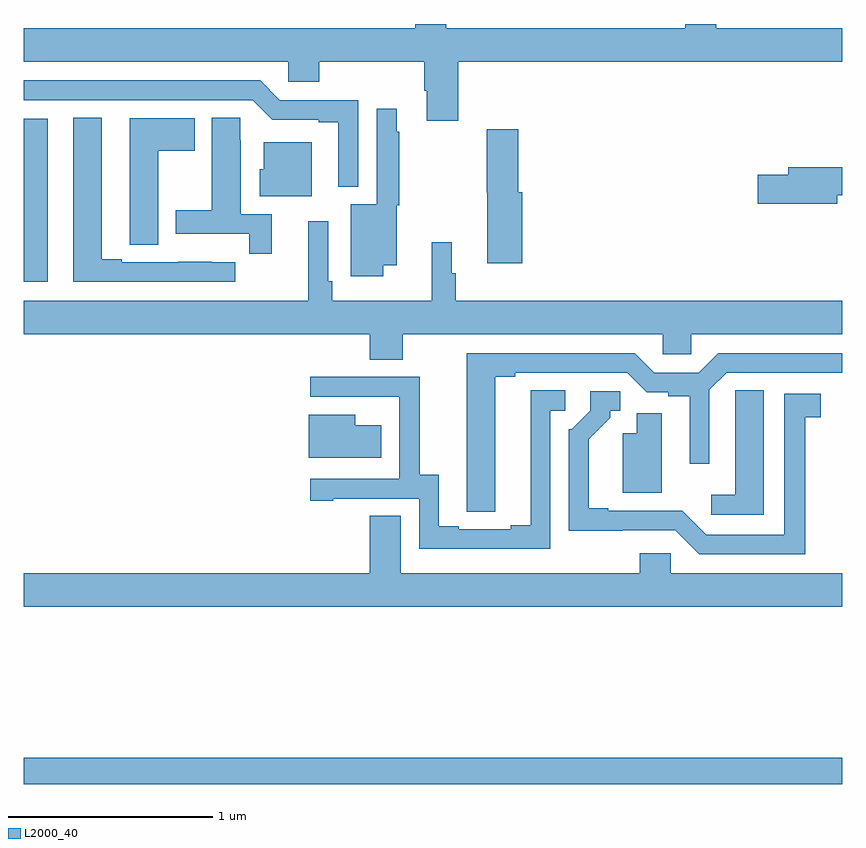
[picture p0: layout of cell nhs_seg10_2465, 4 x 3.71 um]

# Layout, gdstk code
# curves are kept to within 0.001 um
import gdstk
lib = gdstk.Library(unit=1e-6, precision=1e-09)
def R(c, l, rs):  # rectangles x0, y0, x1, y1
    for r in rs: c.add(gdstk.rectangle(r[:2], r[2:], *l))
def P(c, l, *ps):  # polygons
    for p in ps: c.add(gdstk.Polygon(p, *l))
L2000_40 = (2000, 40)

nhs_seg10_2465 = lib.new_cell('nhs_seg10_2465')
R(nhs_seg10_2465, L2000_40, [(243,1296.786,247,1296.914), (243,1299.24,243.118,1300.038)])
P(nhs_seg10_2465, L2000_40, [(245.123,1300.316),(247,1300.316),(247,1300.48),(246.384,1300.48),(246.384,1300.5),(246.233,1300.5),(246.233,1300.48),(245.065,1300.48),(245.065,1300.5),(244.913,1300.5),(244.913,1300.48),(243,1300.48),(243,1300.316),(244.293,1300.316),(244.293,1300.218),(244.445,1300.218),(244.445,1300.316),(244.958,1300.316),(244.958,1300.174),(244.97,1300.174),(244.97,1300.026),(245.123,1300.026)],
  [(244.635,1300.128),(244.251,1300.128),(244.155,1300.224),(243,1300.224),(243,1300.128),(244.119,1300.128),(244.215,1300.032),(244.442,1300.032),(244.442,1300.02),(244.538,1300.02),(244.538,1299.704),(244.635,1299.704)],
  [(244.756,1299.32),(244.822,1299.32),(244.822,1299.615),(244.834,1299.615),(244.834,1299.974),(244.822,1299.974),(244.822,1300.087),(244.725,1300.087),(244.725,1299.619),(244.598,1299.619),(244.598,1299.267),(244.756,1299.267)],
  [(244.211,1299.57),(244.06,1299.57),(244.06,1299.932),(244.059,1299.932),(244.059,1300.043),(243.92,1300.043),(243.92,1299.591),(243.743,1299.591),(243.743,1299.474),(244.102,1299.474),(244.102,1299.378),(244.211,1299.378)],
  [(244.033,1299.336),(243.92,1299.336),(243.92,1299.337),(243.754,1299.337),(243.754,1299.336),(243.478,1299.336),(243.478,1299.351),(243.382,1299.351),(243.382,1300.043),(243.242,1300.043),(243.242,1299.24),(244.033,1299.24)],
  [(243.658,1299.88),(243.835,1299.88),(243.835,1300.039),(243.518,1300.039),(243.518,1299.529),(243.519,1299.529),(243.519,1299.421),(243.658,1299.421)],
  [(245.435,1299.678),(245.417,1299.678),(245.417,1299.985),(245.263,1299.985),(245.263,1299.678),(245.264,1299.678),(245.264,1299.33),(245.435,1299.33)],
  [(244.408,1299.922),(244.172,1299.922),(244.172,1299.789),(244.154,1299.789),(244.154,1299.659),(244.408,1299.659)],
  [(246.976,1299.664),(247,1299.664),(247,1299.8),(246.737,1299.8),(246.737,1299.764),(246.588,1299.764),(246.588,1299.622),(246.976,1299.622)],
  [(245.111,1299.282),(245.092,1299.282),(245.092,1299.433),(244.993,1299.433),(244.993,1299.148),(244.508,1299.148),(244.508,1299.244),(244.488,1299.244),(244.488,1299.535),(244.391,1299.535),(244.391,1299.148),(243,1299.148),(243,1298.984),(244.691,1298.984),(244.691,1298.86),(244.851,1298.86),(244.851,1298.984),(246.123,1298.984),(246.123,1298.886),(246.261,1298.886),(246.261,1298.984),(247,1298.984),(247,1299.148),(245.111,1299.148)],
  [(245.305,1298.776),(245.401,1298.776),(245.401,1298.796),(245.949,1298.796),(246.045,1298.7),(246.15,1298.7),(246.15,1298.68),(246.254,1298.68),(246.254,1298.352),(246.351,1298.352),(246.351,1298.712),(246.435,1298.796),(247,1298.796),(247,1298.892),(246.395,1298.892),(246.299,1298.796),(246.081,1298.796),(245.985,1298.892),(245.165,1298.892),(245.166,1298.116),(245.305,1298.116)],
  [(245.574,1298.61),(245.647,1298.61),(245.647,1298.711),(245.477,1298.711),(245.477,1298.051),(245.381,1298.051),(245.381,1298.031),(245.125,1298.031),(245.125,1298.046),(245.029,1298.046),(245.029,1298.297),(244.935,1298.297),(244.935,1298.775),(244.401,1298.775),(244.401,1298.679),(244.835,1298.679),(244.835,1298.678),(244.836,1298.678),(244.836,1298.277),(244.401,1298.277),(244.401,1298.169),(244.513,1298.169),(244.513,1298.181),(244.932,1298.181),(244.932,1297.935),(245.574,1297.935)],
  [(246.616,1298.711),(246.477,1298.711),(246.477,1298.603),(246.476,1298.603),(246.476,1298.2),(246.36,1298.2),(246.36,1298.103),(246.616,1298.103)],
  [(246.82,1298.578),(246.895,1298.578),(246.895,1298.694),(246.716,1298.694),(246.716,1298.004),(246.336,1298.004),(246.219,1298.121),(245.857,1298.121),(245.857,1298.134),(245.761,1298.134),(245.761,1298.47),(245.866,1298.575),(245.866,1298.61),(245.916,1298.61),(245.916,1298.706),(245.769,1298.706),(245.769,1298.61),(245.679,1298.52),(245.664,1298.52),(245.664,1298.024),(246.183,1298.025),(246.3,1297.908),(246.82,1297.908)],
  [(246.118,1298.598),(245.996,1298.598),(245.996,1298.5),(245.927,1298.5),(245.927,1298.21),(246.118,1298.21)],
  [(244.747,1298.539),(244.621,1298.539),(244.621,1298.59),(244.394,1298.59),(244.394,1298.381),(244.747,1298.381)],
  [(247,1297.816),(246.162,1297.816),(246.162,1297.914),(246.011,1297.914),(246.011,1297.816),(244.843,1297.816),(244.843,1298.096),(244.691,1298.096),(244.691,1297.816),(243,1297.816),(243,1297.652),(247,1297.652)])

lib.write_gds('nhs_seg10_2465.gds')
